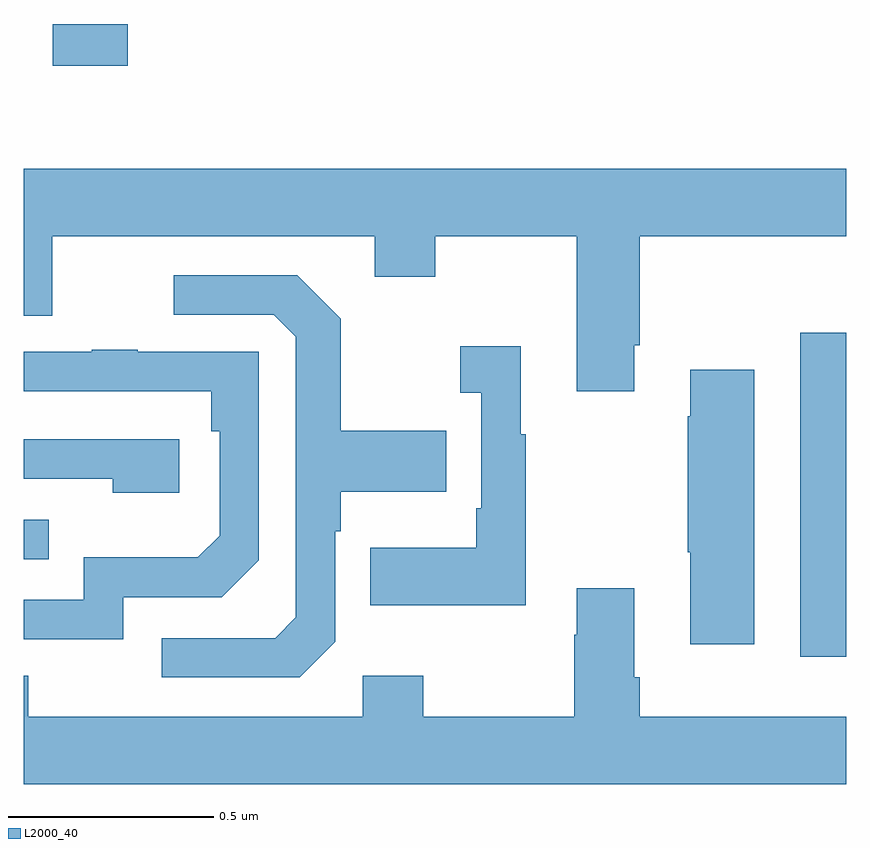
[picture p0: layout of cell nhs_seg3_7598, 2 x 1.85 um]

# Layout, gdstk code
import gdstk
lib = gdstk.Library(unit=1e-6, precision=1e-09)
def R(c, l, rs):  # rectangles x0, y0, x1, y1
    for r in rs: c.add(gdstk.rectangle(r[:2], r[2:], *l))
def P(c, l, *ps):  # polygons
    for p in ps: c.add(gdstk.Polygon(p, *l))
L2000_40 = (2000, 40)

nhs_seg3_7598 = lib.new_cell('nhs_seg3_7598')
R(nhs_seg3_7598, L2000_40, [(206.888,731.862,207,732.649), (205,732.099,205.061,732.195), (205.07,733.299,205.253,733.4)])
P(nhs_seg3_7598, L2000_40, [(206.485,732.619),(206.498,732.619),(206.498,732.884),(207,732.884),(207,733.048),(205,733.048),(205,732.69),(205.069,732.69),(205.069,732.884),(205.853,732.884),(205.853,732.785),(206.001,732.785),(206.001,732.884),(206.345,732.884),(206.345,732.507),(206.485,732.507)],
  [(205.758,731.898),(205.758,732.167),(205.771,732.167),(205.771,732.263),(206.027,732.263),(206.027,732.411),(205.771,732.411),(205.771,732.683),(205.665,732.789),(205.365,732.789),(205.365,732.693),(205.608,732.693),(205.662,732.639),(205.662,731.958),(205.611,731.907),(205.335,731.907),(205.335,731.811),(205.671,731.811)],
  [(206.221,732.403),(206.209,732.403),(206.209,732.616),(206.061,732.616),(206.061,732.503),(206.112,732.503),(206.112,732.223),(206.1,732.223),(206.1,732.127),(205.843,732.127),(205.843,731.987),(206.221,731.987)],
  [(205.242,732.006),(205.482,732.006),(205.572,732.096),(205.572,732.603),(205.277,732.603),(205.277,732.608),(205.165,732.608),(205.165,732.603),(205,732.603),(205,732.507),(205.456,732.507),(205.456,732.41),(205.476,732.41),(205.476,732.156),(205.423,732.103),(205.146,732.103),(205.146,732),(205,732),(205,731.904),(205.242,731.904)],
  [(206.776,732.559),(206.621,732.559),(206.621,732.446),(206.614,732.446),(206.614,732.115),(206.621,732.115),(206.621,731.892),(206.776,731.892)],
  [(205.378,732.39),(205,732.39),(205,732.294),(205.217,732.294),(205.217,732.26),(205.378,732.26)],
  [(207,731.716),(206.498,731.716),(206.498,731.812),(206.485,731.812),(206.485,732.028),(206.345,732.028),(206.345,731.915),(206.338,731.915),(206.338,731.716),(205.971,731.716),(205.971,731.815),(205.824,731.815),(205.824,731.716),(205.011,731.716),(205.011,731.815),(205,731.815),(205,731.552),(207,731.552)])

lib.write_gds('nhs_seg3_7598.gds')
